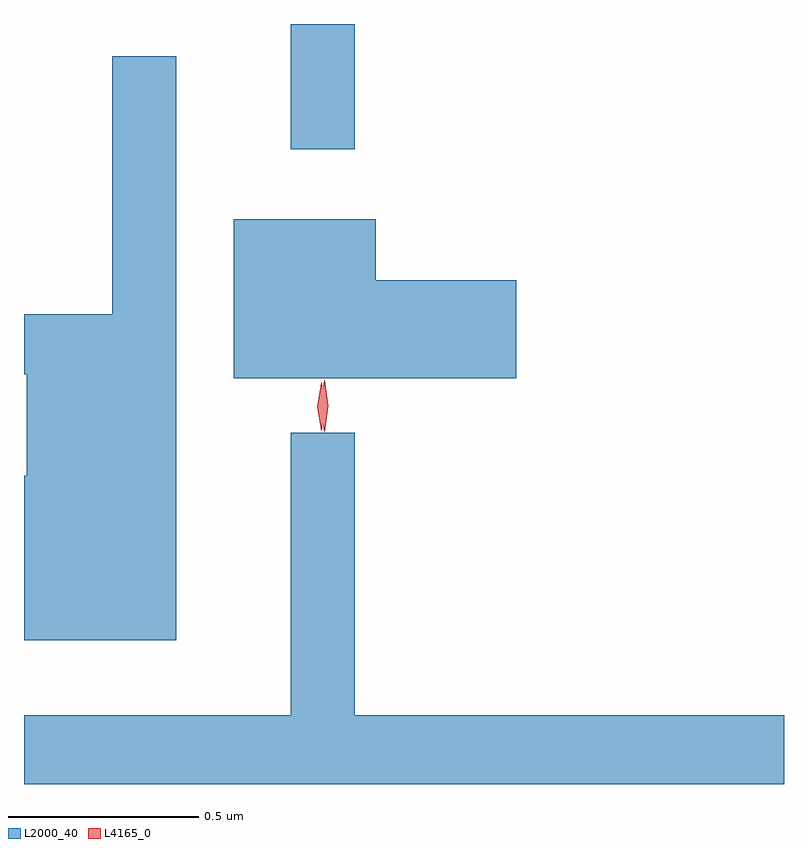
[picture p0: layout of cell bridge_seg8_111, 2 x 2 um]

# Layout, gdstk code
import gdstk
lib = gdstk.Library(unit=1e-6, precision=1e-09)
def R(c, l, rs):  # rectangles x0, y0, x1, y1
    for r in rs: c.add(gdstk.rectangle(r[:2], r[2:], *l))
def P(c, l, *ps):  # polygons
    for p in ps: c.add(gdstk.Polygon(p, *l))
L2000_40 = (2000, 40)
L4165_0 = (4165, 0)

bridge_seg8_111 = lib.new_cell('bridge_seg8_111')
R(bridge_seg8_111, L2000_40, [(1530.251,1809.313,1530.419,1809.643)])
P(bridge_seg8_111, L2000_40, [(1529.949,1809.558),(1529.781,1809.558),(1529.781,1808.879),(1529.549,1808.879),(1529.549,1808.721),(1529.556,1808.721),(1529.556,1808.454),(1529.549,1808.454),(1529.549,1808.021),(1529.949,1808.021)],
  [(1530.844,1808.969),(1530.474,1808.969),(1530.474,1809.129),(1530.101,1809.129),(1530.101,1808.711),(1530.844,1808.711)],
  [(1531.549,1807.824),(1530.419,1807.824),(1530.419,1808.568),(1530.251,1808.568),(1530.251,1807.824),(1529.549,1807.824),(1529.549,1807.643),(1531.549,1807.643)])
P(bridge_seg8_111, L4165_0, [(1530.339,1808.57),(1530.339,1808.57),(1530.329,1808.638),(1530.339,1808.705),(1530.339,1808.706),(1530.34,1808.705),(1530.349,1808.638),(1530.34,1808.57)],
  [(1530.331,1808.573),(1530.321,1808.636),(1530.331,1808.699),(1530.331,1808.7),(1530.332,1808.699),(1530.341,1808.636),(1530.332,1808.573),(1530.332,1808.573)])

lib.write_gds('bridge_seg8_111.gds')
